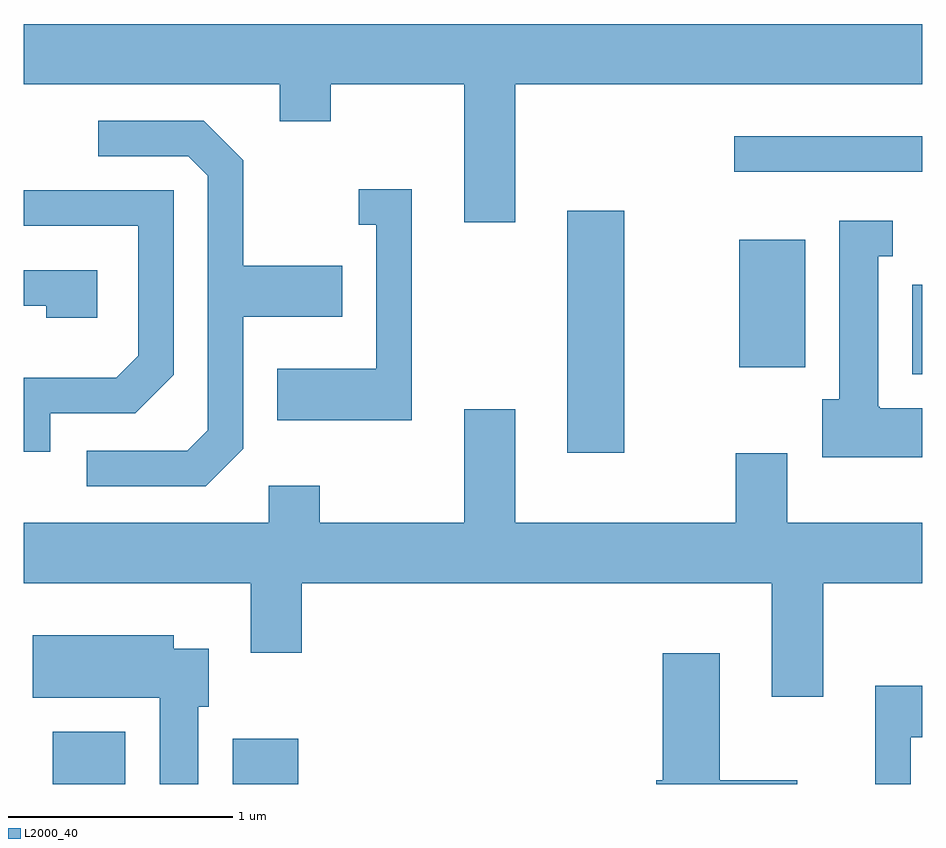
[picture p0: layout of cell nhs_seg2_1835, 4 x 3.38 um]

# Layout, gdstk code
import gdstk
lib = gdstk.Library(unit=1e-6, precision=1e-09)
def R(c, l, rs):  # rectangles x0, y0, x1, y1
    for r in rs: c.add(gdstk.rectangle(r[:2], r[2:], *l))
def P(c, l, *ps):  # polygons
    for p in ps: c.add(gdstk.Polygon(p, *l))
L2000_40 = (2000, 40)

nhs_seg2_1835 = lib.new_cell('nhs_seg2_1835')
R(nhs_seg2_1835, L2000_40, [(237.741,1111.802,238.064,1112.034), (238.541,1111.802,238.834,1112.004), (240.031,1113.276,240.284,1114.354), (241.566,1113.626,241.611,1114.024), (240.796,1113.656,241.089,1114.224), (240.773,1114.526,241.611,1114.684)])
P(nhs_seg2_1835, L2000_40, [(239.799,1114.916),(241.611,1114.916),(241.611,1115.184),(237.611,1115.184),(237.611,1114.916),(238.751,1114.916),(238.751,1114.751),(238.979,1114.751),(238.979,1114.916),(239.571,1114.916),(239.571,1114.301),(239.799,1114.301)],
  [(238.589,1113.294),(238.589,1113.881),(239.029,1113.881),(239.029,1114.109),(238.589,1114.109),(238.589,1114.577),(238.412,1114.754),(237.943,1114.754),(237.943,1114.596),(238.344,1114.596),(238.431,1114.509),(238.431,1113.377),(238.339,1113.284),(237.893,1113.284),(237.893,1113.126),(238.422,1113.126)],
  [(239.339,1114.449),(239.103,1114.449),(239.103,1114.291),(239.181,1114.291),(239.181,1113.649),(238.741,1113.649),(238.741,1113.421),(239.339,1113.421)],
  [(237.729,1113.451),(238.107,1113.451),(238.279,1113.624),(238.279,1114.444),(237.611,1114.444),(237.611,1114.286),(238.121,1114.286),(238.121,1113.707),(238.024,1113.609),(237.611,1113.609),(237.611,1113.281),(237.729,1113.281)],
  [(241.611,1113.474),(241.42,1113.474),(241.42,1113.48),(241.414,1113.48),(241.414,1114.151),(241.478,1114.151),(241.478,1114.309),(241.241,1114.309),(241.241,1113.514),(241.166,1113.514),(241.166,1113.256),(241.611,1113.256)],
  [(237.939,1114.089),(237.611,1114.089),(237.611,1113.931),(237.711,1113.931),(237.711,1113.876),(237.939,1113.876)],
  [(241.169,1112.696),(241.611,1112.696),(241.611,1112.964),(241.009,1112.964),(241.009,1113.274),(240.781,1113.274),(240.781,1112.964),(239.799,1112.964),(239.799,1113.469),(239.571,1113.469),(239.571,1112.964),(238.929,1112.964),(238.929,1113.129),(238.701,1113.129),(238.701,1112.964),(237.611,1112.964),(237.611,1112.696),(238.621,1112.696),(238.621,1112.386),(238.849,1112.386),(238.849,1112.696),(240.941,1112.696),(240.941,1112.191),(241.169,1112.191)],
  [(238.389,1112.146),(238.434,1112.146),(238.434,1112.404),(238.279,1112.404),(238.279,1112.464),(237.651,1112.464),(237.651,1112.186),(238.216,1112.186),(238.216,1111.802),(238.389,1111.802)],
  [(241.054,1111.819),(240.709,1111.819),(240.709,1112.384),(240.456,1112.384),(240.456,1111.819),(240.426,1111.819),(240.426,1111.802),(241.054,1111.802)],
  [(241.559,1112.011),(241.611,1112.011),(241.611,1112.239),(241.401,1112.239),(241.401,1111.802),(241.559,1111.802)])

lib.write_gds('nhs_seg2_1835.gds')
